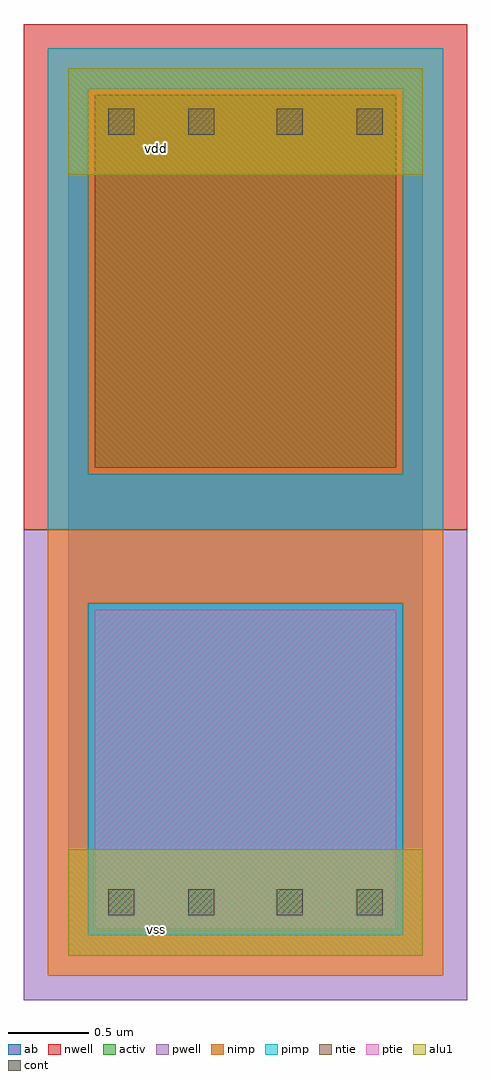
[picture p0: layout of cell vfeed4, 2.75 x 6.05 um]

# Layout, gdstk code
import gdstk
lib = gdstk.Library(unit=1e-6, precision=2.5e-09)
def R(c, l, rs):  # rectangles x0, y0, x1, y1
    for r in rs: c.add(gdstk.rectangle(r[:2], r[2:], *l))
ntie = (5, 0)
ptie = (6, 0)
cont = (25, 0)
pwell = (41, 0)
nwell = (42, 0)
activ = (43, 0)
pimp = (44, 0)
nimp = (45, 0)
alu1 = (49, 0)
ab = (63, 0)

vfeed4 = lib.new_cell('vfeed4')
R(vfeed4, ntie, [(0.165,3.025,2.035,5.335)])
R(vfeed4, ptie, [(0.165,0.165,2.035,2.145)])
R(vfeed4, cont, [(0.25,0.25,0.41,0.41), (0.745,0.25,0.905,0.41), (1.295,0.25,1.455,0.41), (1.79,0.25,1.95,0.41), (0.25,5.09,0.41,5.25), (0.745,5.09,0.905,5.25), (1.295,5.09,1.455,5.25), (1.79,5.09,1.95,5.25)])
R(vfeed4, pwell, [(-0.275,-0.275,2.475,2.64)])
R(vfeed4, nwell, [(-0.275,2.64,2.475,5.775)])
R(vfeed4, activ, [(0.165,0.165,2.035,2.145), (0.165,3.025,2.035,5.335)])
R(vfeed4, pimp, [(0.125,0.125,2.075,2.185), (-0.125,2.64,2.325,2.985), (-0.125,2.985,0.125,5.375), (2.075,2.985,2.325,5.375), (-0.125,5.375,2.325,5.625)])
R(vfeed4, nimp, [(-0.125,-0.125,2.325,0.125), (-0.125,0.125,0.125,2.185), (2.075,0.125,2.325,2.185), (-0.125,2.185,2.325,2.64), (0.125,2.985,2.075,5.375)])
R(vfeed4, alu1, [(0,0,2.2,0.66), (0,4.84,2.2,5.5)])
R(vfeed4, ab, [(0,0,2.2,5.5)])
vfeed4.add(gdstk.Label('vss', (0.55,0.165), layer=49, texttype=0))
vfeed4.add(gdstk.Label('vdd', (0.55,5.005), layer=49, texttype=0))

lib.write_gds('vfeed4.gds')
